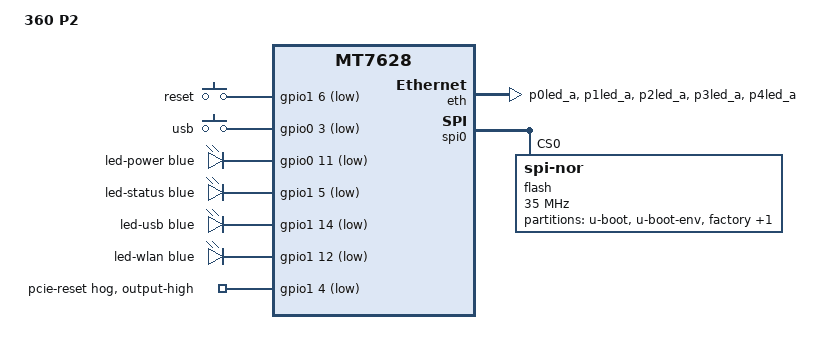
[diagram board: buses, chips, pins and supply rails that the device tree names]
// SPDX-License-Identifier: GPL-2.0-or-later

/dts-v1/;

#include "mt7628a.dtsi"

#include <dt-bindings/gpio/gpio.h>
#include <dt-bindings/input/input.h>
#include <dt-bindings/leds/common.h>

/ {
	compatible = "360,p2", "mediatek,mt7628-soc";
	model = "360 P2";

	/delete-node/ clock-48m;
	/delete-node/ watchdog@10000100;
	/delete-node/ serial@10000d00;
	/delete-node/ serial@10000e00;
	/delete-node/ usb-phy@10120000;
	/delete-node/ ehci@101c0000;
	/delete-node/ mmc@10130000;

	aliases {
		serial0 = &uart0;
		spi0 = &spi0;
	};

	chosen {
		stdout-path = "serial0:115200n8";
	};

	gpio-keys {
		compatible = "gpio-keys";

		button-reset {
			label = "reset";
			linux,code = <KEY_RESTART>;
			gpios = <&gpio1 6 GPIO_ACTIVE_LOW>;
		};

		button-usb {
			label = "usb";
			linux,code = <KEY_WPS_BUTTON>;
			gpios = <&gpio0 3 GPIO_ACTIVE_LOW>;
		};
	};

	gpio-leds {
		compatible = "gpio-leds";

		led-power {
			color = <LED_COLOR_ID_BLUE>;
			function = LED_FUNCTION_POWER;
			gpios = <&gpio0 11 GPIO_ACTIVE_LOW>;
			default-state = "on";
		};

		led-status {
			color = <LED_COLOR_ID_BLUE>;
			function = LED_FUNCTION_STATUS;
			gpios = <&gpio1 5 GPIO_ACTIVE_LOW>;
			default-state = "on";
		};

		led-usb {
			color = <LED_COLOR_ID_BLUE>;
			function = LED_FUNCTION_USB;
			gpios = <&gpio1 14 GPIO_ACTIVE_LOW>;
			default-state = "off";
		};

		led-wlan {
			color = <LED_COLOR_ID_BLUE>;
			function = LED_FUNCTION_WLAN;
			gpios = <&gpio1 12 GPIO_ACTIVE_LOW>;
			default-state = "off";
		};
	};

	options {
		u-boot {
			compatible = "u-boot,config";
			boot-btn1 = "reset";
			boot-btn2 = "usb";
			boot-led1 = "blue:status";
			bootcmd_1-1 = "tftp_boot_ik";
			bootcmd_1-2 = "tftp_update_fw";
			bootcmd_1-3 = "switch_console";
			bootcmd_1-4 = "env init";
			bootcmd_2-1 = "tftp_boot_ik";
			bootcmd_2-2 = "tftp_update_fw";
			bootcmd_2-3 = "switch_console";
			bootcmd_2-4 = "env init";
		};
	};
};

&eth {
	mediatek,wan-port = <0>;

	pinctrl-names = "default";
	pinctrl-0 = <&ephy_router_mode>, <&ephy_leds>;
};

&gpio1 {
	pcie-reset {
		gpio-hog;
		gpios = <4 GPIO_ACTIVE_LOW>;
		output-high;
	};
};

&pinctrl {
	/delete-node/ spi_dual_pins;
	/delete-node/ uart1_pins;
	/delete-node/ uart2_pins;
	/delete-node/ uart2_pwm_pins;
	/delete-node/ i2c_pins;
	/delete-node/ ephy_iot_mode;
	/delete-node/ sd_iot_mode;
	/delete-node/ sd_router_mode;
	/delete-node/ emmc_iot_8bit_mode;

	ephy_leds: ephy_leds {
		groups = "p0led_a", "p1led_a", "p2led_a", "p3led_a", "p4led_a";
		function = "led";
	};
};

&spi0 {
	flash@0 {
		compatible = "jedec,spi-nor";
		reg = <0>;
		spi-max-frequency = <35000000>;

		partitions {
			compatible = "fixed-partitions";
			#address-cells = <1>;
			#size-cells = <1>;

			partition@0 {
				label = "u-boot";
				reg = <0x00000 0x30000>;
			};

			partition@30000 {
				label = "u-boot-env";
				reg = <0x30000 0x10000>;
			};

			partition@40000 {
				label = "factory";
				reg = <0x40000 0x10000>;
			};

			partition@50000 {
				label = "firmware";
				reg = <0x50000 0x00000>;
			};
		};
	};
};

&state_default {
	gpios {
		groups = "gpio0", "spis", "spi cs1", "i2s", "sdmode", "wdt", "perst", \
			 "refclk", "i2c", "uart1", "uart2", "pwm0", "pwm1", "wled_a";
		function = "gpio";
	};
};
